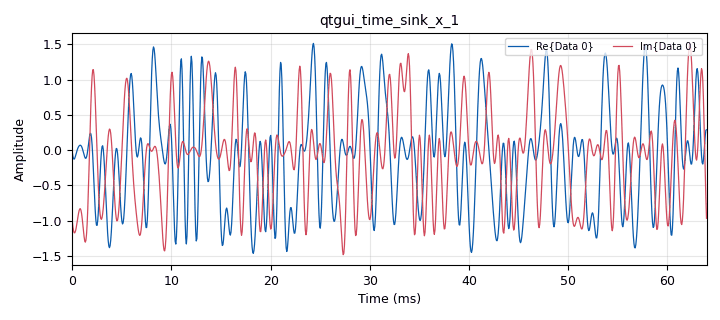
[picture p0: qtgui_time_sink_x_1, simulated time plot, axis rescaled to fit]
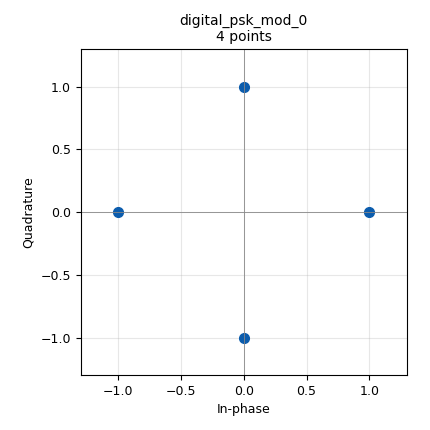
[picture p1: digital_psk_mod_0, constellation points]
<?xml version='1.0' encoding='utf-8'?>
<?grc format='1' created='3.7.9'?>
<flow_graph>
<block>
<key>options</key>
<param><key>id</key><value>top_block</value></param>
<param><key>category</key><value>Custom</value></param>
<param><key>generate_options</key><value>qt_gui</value></param>
<param><key>run_options</key><value>run</value></param>
</block>
<block>
<key>variable</key>
<param><key>id</key><value>samp_rate</value></param>
<param><key>value</key><value>16e3</value></param>
</block>
<block>
<key>analog_random_source_x</key>
<param><key>id</key><value>analog_random_source_x_0</value></param>
<param><key>max</key><value>256</value></param>
<param><key>min</key><value>0</value></param>
<param><key>num_samps</key><value>100000</value></param>
<param><key>type</key><value>byte</value></param>
<param><key>repeat</key><value>False</value></param>
</block>
<block>
<key>blocks_file_sink</key>
<param><key>id</key><value>blocks_file_sink_0</value></param>
<param><key>file</key><value>/home/vignesh/research/cyclo/gnuradio_dumps/qpsk</value></param>
<param><key>type</key><value>complex</value></param>
</block>
<block>
<key>digital_psk_mod</key>
<param><key>id</key><value>digital_psk_mod_0</value></param>
<param><key>differential</key><value>True</value></param>
<param><key>excess_bw</key><value>0.25</value></param>
<param><key>mod_code</key><value>"gray"</value></param>
<param><key>constellation_points</key><value>4</value></param>
<param><key>samples_per_symbol</key><value>8</value></param>
</block>
<block>
<key>qtgui_time_sink_x</key>
<param><key>id</key><value>qtgui_time_sink_x_1</value></param>
<param><key>color1</key><value>"blue"</value></param>
<param><key>label1</key><value></value></param>
<param><key>color2</key><value>"red"</value></param>
<param><key>label2</key><value></value></param>
<param><key>size</key><value>1024</value></param>
<param><key>srate</key><value>samp_rate</value></param>
<param><key>type</key><value>complex</value></param>
</block>
<connection><source_block_id>analog_random_source_x_0</source_block_id><sink_block_id>digital_psk_mod_0</sink_block_id><source_key>0</source_key><sink_key>0</sink_key></connection>
<connection><source_block_id>digital_psk_mod_0</source_block_id><sink_block_id>blocks_file_sink_0</sink_block_id><source_key>0</source_key><sink_key>0</sink_key></connection>
<connection><source_block_id>digital_psk_mod_0</source_block_id><sink_block_id>qtgui_time_sink_x_1</sink_block_id><source_key>0</source_key><sink_key>0</sink_key></connection>
</flow_graph>
